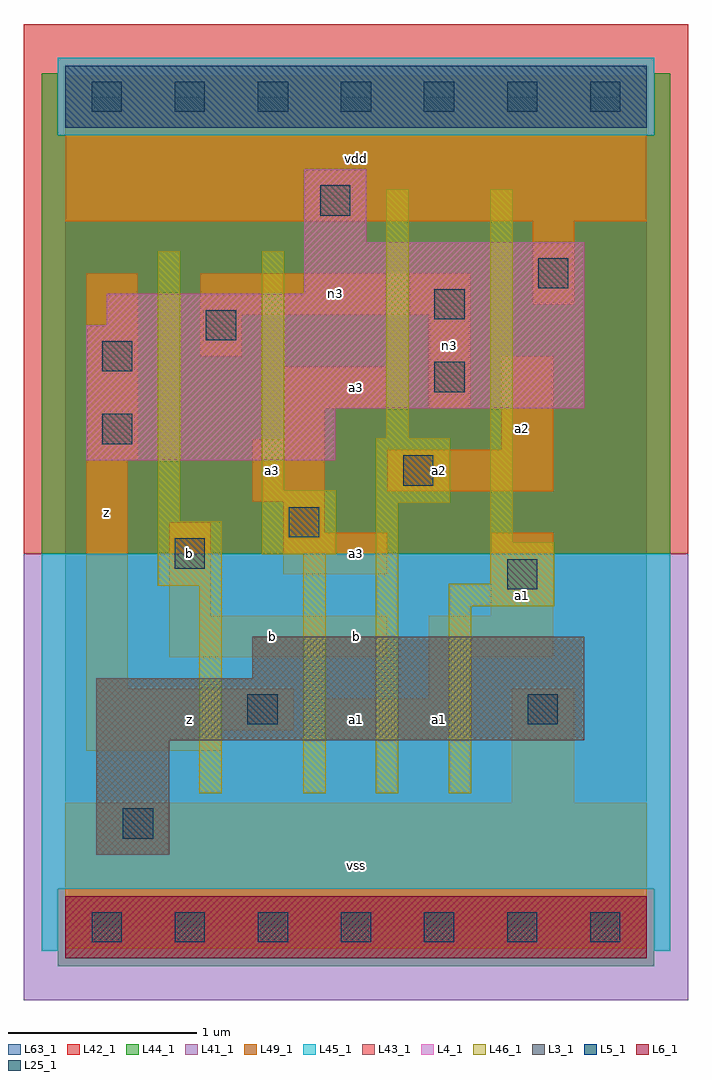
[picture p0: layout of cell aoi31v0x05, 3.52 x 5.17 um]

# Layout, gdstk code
import gdstk
lib = gdstk.Library(unit=1e-6, precision=1e-09)
def R(c, l, rs):  # rectangles x0, y0, x1, y1
    for r in rs: c.add(gdstk.rectangle(r[:2], r[2:], *l))
def A(c, l, x, y, w, h, nx, ny, dx, dy):  # array of equal rectangles
    R(c, l, [(x+i*dx, y+j*dy, x+i*dx+w, y+j*dy+h) for i in range(nx) for j in range(ny)])
L3_1 = (3, 1)
L4_1 = (4, 1)
L5_1 = (5, 1)
L6_1 = (6, 1)
L25_1 = (25, 1)
L41_1 = (41, 1)
L42_1 = (42, 1)
L43_1 = (43, 1)
L44_1 = (44, 1)
L45_1 = (45, 1)
L46_1 = (46, 1)
L49_1 = (49, 1)
L63_1 = (63, 1)

aoi31v0x05 = lib.new_cell('aoi31v0x05')
R(aoi31v0x05, L3_1, [(0.165,0.385,0.55,0.99), (0.165,0.99,2.75,1.32), (0.99,1.32,2.75,1.54)])
R(aoi31v0x05, L4_1, [(0.11,2.475,1.43,2.75), (0.11,2.75,2.75,3.19), (0.22,3.19,2.75,3.355), (1.265,3.355,2.75,3.63), (1.265,3.63,1.595,4.015)])
R(aoi31v0x05, L5_1, [(0,4.235,3.08,4.565)])
R(aoi31v0x05, L6_1, [(0,-0.165,3.08,0.165)])
A(aoi31v0x05, L25_1, 0.14, -0.08, 0.16, 0.16, 7, 2, 0.44, 4.4)
R(aoi31v0x05, L25_1, [(0.305,0.47,0.465,0.63), (0.965,1.075,1.125,1.235), (2.45,1.075,2.61,1.235), (2.34,1.79,2.5,1.95), (0.58,1.9,0.74,2.06), (1.185,2.065,1.345,2.225), (1.79,2.34,1.95,2.5), (0.195,2.56,0.355,2.72), (1.955,2.835,2.115,2.995), (0.195,2.945,0.355,3.105), (0.745,3.11,0.905,3.27), (1.955,3.22,2.115,3.38), (2.505,3.385,2.665,3.545), (1.35,3.77,1.51,3.93)])
R(aoi31v0x05, L41_1, [(-0.22,-0.385,3.3,1.98)])
R(aoi31v0x05, L42_1, [(-0.22,1.98,3.3,4.785)])
R(aoi31v0x05, L43_1, [(0,-0.165,3.08,0.165), (0.165,0.385,0.55,0.99), (0.165,0.99,2.75,1.32), (0.99,1.32,2.75,1.54), (0.11,2.475,1.43,2.75), (0.11,2.75,2.75,3.19), (0.22,3.19,2.75,3.355), (1.265,3.355,2.75,3.63), (1.265,3.63,1.595,4.015), (0,4.235,3.08,4.565)])
R(aoi31v0x05, L44_1, [(-0.04,-0.205,3.12,0.205), (-0.125,1.98,3.205,4.195), (-0.125,4.195,-0.04,4.525), (3.12,4.195,3.205,4.525)])
R(aoi31v0x05, L45_1, [(-0.125,-0.125,-0.04,0.205), (3.12,-0.125,3.205,0.205), (-0.125,0.205,3.205,1.98), (-0.04,4.195,3.12,4.605)])
R(aoi31v0x05, L46_1, [(0.71,0.71,0.83,1.81), (1.26,0.71,1.38,1.975), (1.645,0.71,1.765,2.25), (2.03,0.71,2.15,1.7), (2.03,1.7,2.59,1.82), (0.49,1.81,0.83,2.15), (2.25,1.82,2.59,2.04), (1.04,1.975,1.435,2.315), (2.25,2.04,2.37,3.91), (0.49,2.15,0.61,3.58), (1.645,2.25,2.04,2.59), (1.04,2.315,1.16,3.58), (1.7,2.59,1.82,3.91)])
R(aoi31v0x05, L49_1, [(0,-0.11,3.08,0.66), (2.365,0.66,2.695,1.265), (0.11,0.935,0.825,1.045), (1.375,0.99,2.145,1.21), (0.11,1.045,1.21,1.265), (1.925,1.21,2.145,1.43), (0.11,1.265,0.33,2.475), (0.55,1.43,1.705,1.65), (1.925,1.43,2.585,1.65), (0.55,1.65,0.77,2.145), (2.255,1.65,2.585,2.09), (1.155,1.87,1.705,2.09), (1.155,2.09,1.375,2.255), (0.99,2.255,1.375,2.585), (1.705,2.31,2.585,2.53), (0.11,2.475,0.385,3.465), (2.31,2.53,2.585,3.025), (1.155,2.585,1.375,2.75), (1.155,2.75,1.705,2.97), (1.925,2.75,2.145,3.245), (0.715,3.025,0.935,3.245), (0.715,3.245,2.145,3.465), (2.475,3.3,2.695,3.74), (0,3.74,3.08,4.51)])
R(aoi31v0x05, L63_1, [(0,0,3.08,4.4)])
aoi31v0x05.add(gdstk.Label('z', (0.22,2.2), layer=49, texttype=1))
aoi31v0x05.add(gdstk.Label('z', (0.66,1.1), layer=49, texttype=1))
aoi31v0x05.add(gdstk.Label('b', (0.66,1.98), layer=49, texttype=1))
aoi31v0x05.add(gdstk.Label('vss', (1.54,0.33), layer=49, texttype=1))
aoi31v0x05.add(gdstk.Label('b', (1.1,1.54), layer=49, texttype=1))
aoi31v0x05.add(gdstk.Label('a1', (1.54,1.1), layer=49, texttype=1))
aoi31v0x05.add(gdstk.Label('b', (1.54,1.54), layer=49, texttype=1))
aoi31v0x05.add(gdstk.Label('a3', (1.1,2.42), layer=49, texttype=1))
aoi31v0x05.add(gdstk.Label('a3', (1.54,1.98), layer=49, texttype=1))
aoi31v0x05.add(gdstk.Label('a3', (1.54,2.86), layer=49, texttype=1))
aoi31v0x05.add(gdstk.Label('vdd', (1.54,4.07), layer=49, texttype=1))
aoi31v0x05.add(gdstk.Label('a1', (1.98,1.1), layer=49, texttype=1))
aoi31v0x05.add(gdstk.Label('a1', (2.42,1.76), layer=49, texttype=1))
aoi31v0x05.add(gdstk.Label('a2', (1.98,2.42), layer=49, texttype=1))
aoi31v0x05.add(gdstk.Label('a2', (2.42,2.64), layer=49, texttype=1))
aoi31v0x05.add(gdstk.Label('n3', (2.035,3.08), layer=49, texttype=1))
aoi31v0x05.add(gdstk.Label('n3', (1.43,3.355), layer=49, texttype=1))

lib.write_gds('aoi31v0x05.gds')
